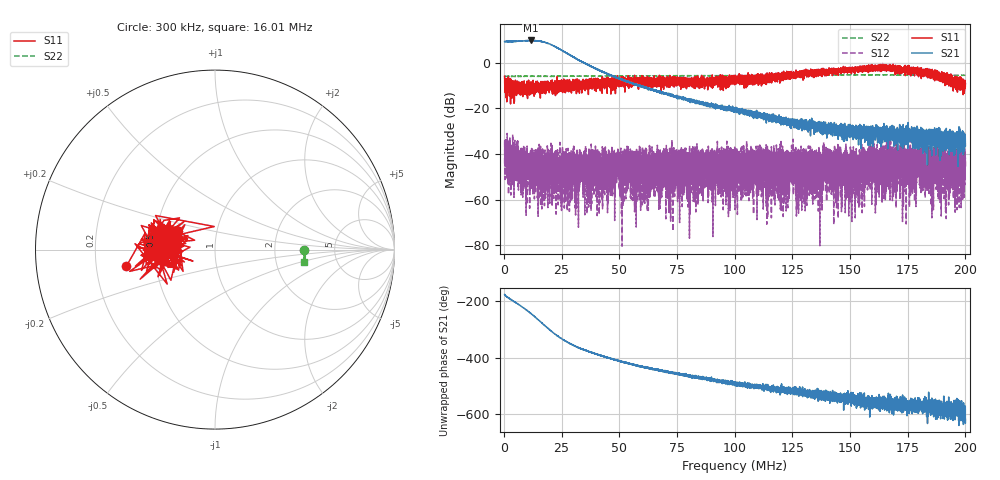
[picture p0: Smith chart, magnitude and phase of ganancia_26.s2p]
# Hz S DB R 50
! CMT, M5065, 19127446, 24.2.4/2
! Date: 10/29/2024 1:16:47 PM
! Data: Format (Calibration Info)
! Freq	S11:dB/Ang(F2)	S21:dB/Ang(F2)	S12:dB/Ang(F2)	S22:dB/Ang(F2)
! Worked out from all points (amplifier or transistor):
!   9000 points, 300 kHz to 200 MHz, reference 50 ohm
!   highest |S21| = 9.7 dB at 11.62 MHz (marker M1)
!   |S21| within 3 dB of that: start of sweep to 22.67 MHz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
!   unconditionally stable (mu >= 1): start of sweep to end of sweep
!   at 33.59 MHz: K = 64.54, MAG = 2.2 dB, |S12| = -46.0 dB
!   at 100.2 MHz: K = 5795.99, MAG = -19.0 dB, |S12| = -64.4 dB
!   at 200 MHz: K = 2544.38, MAG = -34.5 dB, |S12| = -41.6 dB
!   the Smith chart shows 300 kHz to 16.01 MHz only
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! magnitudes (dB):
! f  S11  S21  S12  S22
! 300 kHz  -6.0  9.2  -44.2  -6.1
! 1.676 MHz  -8.8  9.3  -50.2  -6.0
! 6.735 MHz  -13.0  9.4  -45.4  -6.0
! 8.755 MHz  -13.9  9.6  -46.1  -6.0
! 11.62 MHz  -12.4  9.7  -43.8  -6.0
! 25.35 MHz  -10.0  5.2  -43.4  -5.9
! 27.6 MHz  -11.5  4.0  -47.2  -6.0
! 33.59 MHz  -10.8  0.5  -46.0  -5.9
! 49.79 MHz  -8.8  -6.8  -48.7  -5.8
! 51.85 MHz  -6.3  -7.6  -45.8  -5.8
! 53.94 MHz  -8.5  -8.7  -42.0  -5.8
! 56.73 MHz  -9.1  -9.5  -42.9  -5.8
! 66.87 MHz  -7.4  -12.6  -38.2  -5.7
! 100.2 MHz  -8.2  -21.1  -64.4  -5.7
! 122.8 MHz  -6.9  -24.6  -47.4  -5.5
! 125.2 MHz  -5.3  -26.4  -40.3  -5.5
! 127.7 MHz  -4.7  -29.2  -42.5  -5.5
! 133.4 MHz  -3.2  -28.1  -45.0  -5.4
! 166.7 MHz  -3.2  -31.1  -55.2  -5.4
! 189.7 MHz  -7.0  -33.4  -34.6  -5.5
! 196.1 MHz  -9.3  -30.6  -43.8  -5.5
! 200 MHz  -9.1  -36.5  -41.6  -5.6
